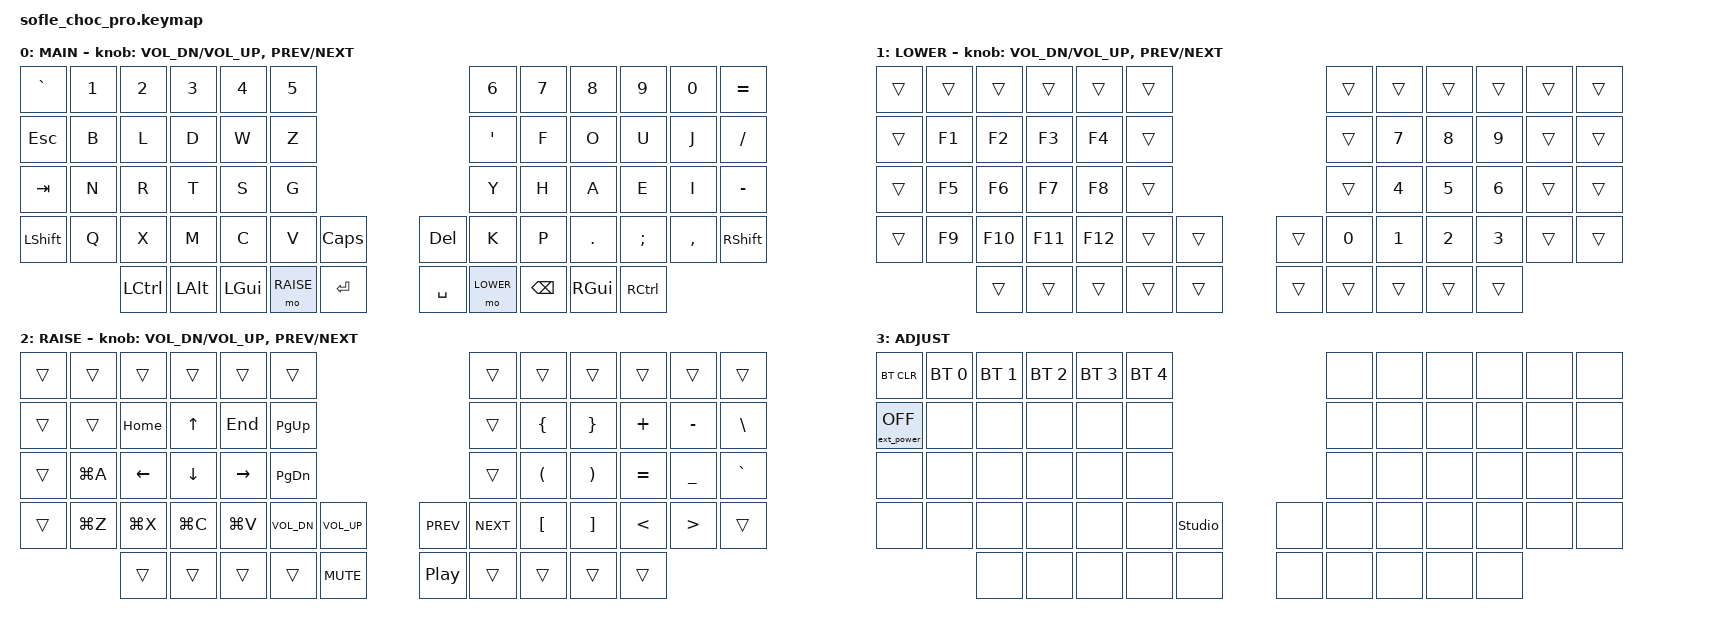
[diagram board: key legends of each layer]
/*
* Copyright (c) 2020 The ZMK Contributors
*
* SPDX-License-Identifier: MIT
*/

#include <behaviors.dtsi>
#include <dt-bindings/zmk/keys.h>
#include <dt-bindings/zmk/bt.h>
#include <dt-bindings/zmk/ext_power.h>

#define MAIN 0
#define LOWER 1
#define RAISE 2
#define ADJUST 3

/ {

  // Activate ADJUST layer by holding both LOWER and RAISE
  conditional_layers {
    compatible = "zmk,conditional-layers";
    adjust_layer {
      if-layers = <LOWER RAISE>;
      then-layer = <ADJUST>;
    };
  };

  keymap {
    compatible = "zmk,keymap";

    main_layer {
      display-name = "MAIN";
      // ------------------------------------------------------------------------------------------------------------
      // |   `   |  1  |  2  |  3   |  4   |  5   |                   |  6   |  7    |  8    |  9   |   0   |   =   |
      // |  ESC  |  B  |  L  |  D   |  W   |  Z   |                   |  '   |  F    |  O    |  U   |   J   |   /   |
      // |  TAB  |  N  |  R  |  T   |  S   |  G   |                   |  Y   |  H    |  A    |  E   |   I   |   -   |
      // | SHIFT |  Q  |  X  |  M   |  C   |  V   |  CAPS  |  |  DEL  |  K   |  P    |  .    |  ;   |   ,   | SHIFT |
      //               | CTRL| ALT  | GUI  | RAISE|  ENTER |  | SPACE | LOWER| BKSPC | GUI   | CTRL |
      bindings = <
        &kp GRAVE &kp N1 &kp N2   &kp N3   &kp N4    &kp N5                           &kp N6 &kp N7    &kp N8    &kp N9   &kp N0   &kp EQUAL
        &kp ESC   &kp B  &kp L    &kp D    &kp W     &kp Z                            &kp SQT &kp F    &kp O     &kp U    &kp J    &kp FSLH
        &kp TAB   &kp N  &kp R    &kp T    &kp S     &kp G                            &kp Y  &kp H     &kp A     &kp E    &kp I    &kp MINUS
        &kp LSHFT &kp Q  &kp X    &kp M    &kp C     &kp V   &kp CLCK   &kp DEL       &kp K  &kp P     &kp DOT  &kp SEMI &kp COMMA &kp RSHFT
        &kp LCTRL &kp LALT &kp LGUI &mo RAISE  &kp RET    &kp SPACE  &mo LOWER  &kp BSPC &kp RGUI  &kp RCTRL
      >;

      sensor-bindings = <&inc_dec_kp C_VOL_DN C_VOL_UP &inc_dec_kp C_PREV C_NEXT>;
    };

    lower_layer {
      display-name = "LOWER";
      // Numpad on the right hand, F-keys on the left.
      // Shift over the digits gives ! @ # $ % ^ & * ( ) so they need no slots.
      // Rows 2-4 are the 3x6 block a Corne also has; row 1 is Sofle-only.
      // ------------------------------------------------------------------------------------------------------------
      // |       |      |      |      |      |     |                   |      |       |       |      |       |       |
      // |       |  F1  |  F2  |  F3  |  F4  |     |                   |      |   7   |   8   |   9  |       |       |
      // |       |  F5  |  F6  |  F7  |  F8  |     |                   |      |   4   |   5   |   6  |       |       |
      // |       |  F9  | F10  | F11  | F12  |     |        |  |       |  0   |   1   |   2   |   3  |       |       |
      //               |      |      |      |      |        |  |       |      |       |       |      |
      bindings = <
        &trans    &trans    &trans    &trans    &trans    &trans                    &trans    &trans    &trans    &trans    &trans    &trans
        &trans    &kp F1    &kp F2    &kp F3    &kp F4    &trans                    &trans    &kp N7    &kp N8    &kp N9    &trans    &trans
        &trans    &kp F5    &kp F6    &kp F7    &kp F8    &trans                    &trans    &kp N4    &kp N5    &kp N6    &trans    &trans
        &trans    &kp F9    &kp F10   &kp F11   &kp F12   &trans    &trans &trans   &kp N0    &kp N1    &kp N2    &kp N3    &trans    &trans
        &trans    &trans    &trans    &trans    &trans    &trans    &trans &trans   &trans    &trans
      >;

      sensor-bindings = <&inc_dec_kp C_VOL_DN C_VOL_UP &inc_dec_kp C_PREV C_NEXT>;
    };

    raise_layer {
      display-name = "RAISE";
      // Left hand is everything you need while the right hand is on the mouse:
      // arrows, paging, clipboard, select-all. Left Shift falls through from
      // MAIN, so Shift+arrow selection and Shift+Cmd+Z work one-handed too.
      // Right hand is paired symbols, cross-hand from the left thumb that
      // holds the layer. Brackets sit on index and middle, opening always left.
      // ------------------------------------------------------------------------------------------------------------
      // |       |      |      |       |       |      |                |      |      |       |      |       |       |
      // |       |      | HOME |   ^   |  END  | PGUP |                |      |  {   |   }   |  +   |   -   |   \   |
      // |       | SALL |  <-  |   v   |  ->   | PGDN |                |      |  (   |   )   |  =   |   _   |   `   |
      // | SHIFT | UNDO | CUT  | COPY  | PASTE | VOL- | VOL+ |  | PREV | NEXT |  [   |   ]   |  <   |   >   |       |
      //               |     |      |      |      |  MUTE  |  |  P/P  |      |       |       |       |
      bindings = <
        &trans     &trans       &trans       &trans       &trans       &trans                            &trans    &trans    &trans    &trans     &trans     &trans
        &trans     &trans       &kp HOME     &kp UP       &kp END      &kp PG_UP                         &trans    &kp LBRC  &kp RBRC  &kp PLUS   &kp MINUS  &kp BSLH
        &trans     &kp LG(A)    &kp LEFT     &kp DOWN     &kp RIGHT    &kp PG_DN                         &trans    &kp LPAR  &kp RPAR  &kp EQUAL  &kp UNDER  &kp GRAVE
        &trans     &kp LG(Z)    &kp LG(X)    &kp LG(C)    &kp LG(V)    &kp C_VOL_DN    &kp C_VOL_UP &kp C_PREV &kp C_NEXT &kp LBKT  &kp RBKT  &kp LT     &kp GT     &trans
                                &trans       &trans       &trans       &trans          &kp C_MUTE &kp C_PP  &trans    &trans    &trans    &trans
      >;

      sensor-bindings = <&inc_dec_kp C_VOL_DN C_VOL_UP &inc_dec_kp C_PREV C_NEXT>;
    };

    adjust_layer {
      // ----------------------------------------------------------------------------------------------------------------------------
      // | BTCLR  |  BT1    |  BT2    |   BT3   |   BT4   |   BT5   |                  |      |      |       |      |       |       |
      // | EP_OFF |         |         |         |         |         |                  |      |      |       |      |       |       |
      // |        |         |         |         |         |         |                  |      |      |       |      |       |       |
      // |        |         |         |         |         |         | STUDIO  | |      |      |      |       |      |       |       |
      //                    |         |         |         |         |         | |      |      |      |       |      |
      display-name = "ADJUST";
      bindings = <
        &bt BT_CLR        &bt BT_SEL 0    &bt BT_SEL 1    &bt BT_SEL 2    &bt BT_SEL 3    &bt BT_SEL 4                            &none &none &none &none &none &none
        &ext_power EP_OFF &none           &none           &none           &none           &none                               &none &none &none &none &none &none
        &none             &none           &none           &none           &none           &none                                   &none &none &none &none &none &none
        &none             &none           &none           &none           &none           &none            &studio_unlock  &none  &none &none &none &none &none &none
        &none           &none           &none           &none            &none           &none  &none &none &none &none
      >;
    };
  };
};
